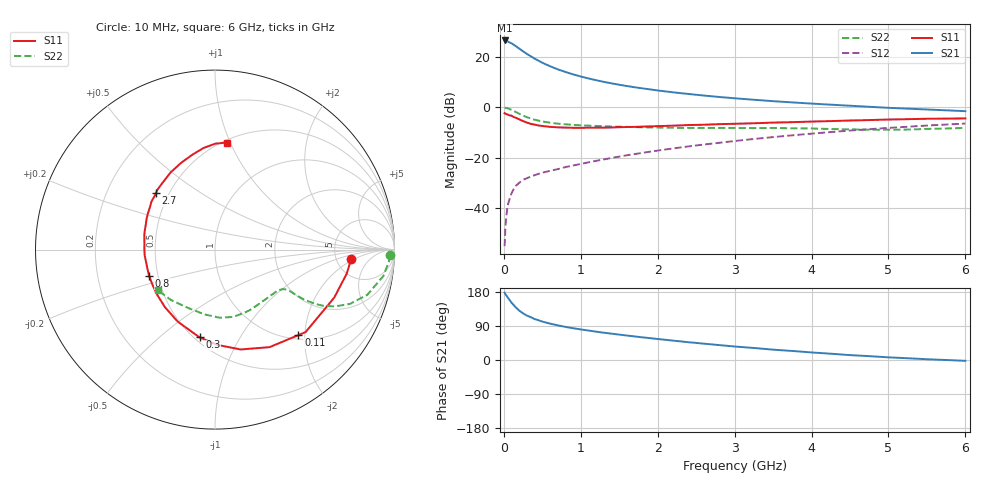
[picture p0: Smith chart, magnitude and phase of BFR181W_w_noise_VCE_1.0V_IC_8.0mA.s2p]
! (c) 2017  Infineon Technologies AG, Munich
! Infineon Technologies  Discrete & RF Semiconductors
! BFR181W
! VCE =  1.0 V,  IC =  8.0 mA
! Common Emitter S-Parameters:  Jan 2017
# GHz  S  MA  R  50
!  f  S11  S21  S12  S22
! GHz  MAG  ANG  MAG  ANG  MAG  ANG  MAG  ANG
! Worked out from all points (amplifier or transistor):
!   77 points, 10 MHz to 6 GHz, reference 50 ohm
!   highest |S21| = 26.3 dB at 10 MHz (marker M1)
!   |S21| within 3 dB of that: start of sweep to 190.4 MHz
!   unconditionally stable (mu >= 1): 742.7 MHz to 3.324 GHz
!   at 130 MHz: K = 0.29, MSG = 28.4 dB, |S12| = -32.3 dB
!   at 2.2 GHz: K = 1.13, MAG = 8.9 dB, |S12| = -16.3 dB
!   at 6 GHz: K = 0.90, MSG = 2.4 dB, |S12| = -6.5 dB
!   lowest NFmin = 1.14 dB at 450 MHz
!   S11 on the Smith chart (normalised r, x): 10 MHz: 6.96, -1.67; 110 MHz: 1.09, -1.86; 300 MHz: 0.53, -0.69; 800 MHz: 0.45, -0.15; 2.7 GHz: 0.42, +0.34; 6 GHz: 0.52, +0.97
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0.01  0.761 -3.8  20.77 177.9  0.0018 89.3  0.9748 -1.8
0.02  0.7462 -10.3  20.59 173.8  0.0042 91.3  0.9729 -3.5
0.05  0.7162 -21.9  19.93 165.0  0.0112 78.9  0.9498 -8.9
0.1  0.6827 -42.3  18.25 151.2  0.0199 70.8  0.8855 -16.5
0.11  0.6654 -45.7  17.81 149.1  0.0214 69.0  0.8701 -17.5
0.15  0.6226 -60.8  16.3 139.9  0.0275 63.8  0.8113 -21.9
0.2  0.5745 -75.6  14.35 130.4  0.0321 59.9  0.7403 -25.3
0.25  0.5306 -88.8  12.68 123.0  0.0369 56.6  0.6814 -27.4
0.3  0.4966 -100.0  11.25 117.1  0.0396 54.4  0.6331 -28.5
0.4  0.4516 -117.5  9.091 108.0  0.0454 54.2  0.5651 -29.3
0.5  0.425 -131.0  7.539 101.4  0.0509 54.1  0.5224 -29.3
0.6  0.4089 -141.7  6.436 96.0  0.0552 55.6  0.4939 -29.1
0.8  0.3952 -158.3  4.964 87.4  0.0656 58.8  0.4588 -29.2
0.9  0.3911 -164.5  4.442 83.9  0.0704 59.6  0.4479 -29.6
1.1  0.3932 -175.5  3.694 77.8  0.0814 62.2  0.4323 -30.9
1.5  0.4022 168.3  2.771 67.0  0.1056 64.7  0.4111 -35.3
2.1  0.4266 150.2  2.05 53.3  0.146 65.8  0.3938 -45.5
2.7  0.4559 136.2  1.643 41.3  0.1903 64.4  0.3883 -58.2
3.1  0.474 127.7  1.46 34.1  0.2228 62.5  0.3873 -66.7
4.1  0.5239 109.4  1.154 18.6  0.309 55.3  0.3758 -88.7
5.1  0.5737 94.9  0.956 6.1  0.398 45.8  0.3587 -118.3
6  0.5999 83.6  0.834 -2.2  0.4754 36.1  0.3909 -144.4
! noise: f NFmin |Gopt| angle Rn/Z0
0.45  1.14  0.2  16  0.21
0.9  1.18  0.19  31  0.21
1.9  1.6  0.07  92  0.2
2.4  1.76  0.06  100  0.23
